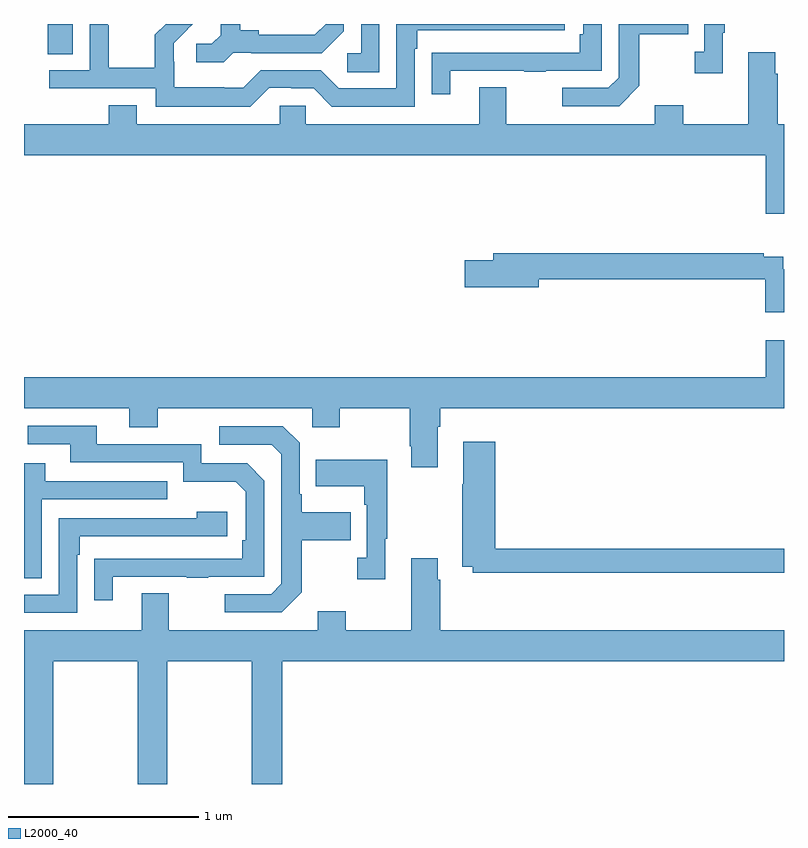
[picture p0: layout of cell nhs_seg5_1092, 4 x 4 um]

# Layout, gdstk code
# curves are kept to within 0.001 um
import gdstk
lib = gdstk.Library(unit=1e-6, precision=1e-09)
def R(c, l, rs):  # rectangles x0, y0, x1, y1
    for r in rs: c.add(gdstk.rectangle(r[:2], r[2:], *l))
def P(c, l, *ps):  # polygons
    for p in ps: c.add(gdstk.Polygon(p, *l))
L2000_40 = (2000, 40)

nhs_seg5_1092 = lib.new_cell('nhs_seg5_1092')
R(nhs_seg5_1092, L2000_40, [(179.126,842.641,179.257,842.799)])
P(nhs_seg5_1092, L2000_40, [(180.102,842.649),(180.196,842.649),(180.196,842.646),(180.568,842.646),(180.684,842.762),(180.684,842.799),(180.587,842.799),(180.53,842.742),(180.235,842.742),(180.235,842.765),(180.139,842.765),(180.139,842.799),(180.035,842.799),(180.035,842.741),(179.988,842.694),(179.907,842.694),(179.907,842.597),(180.05,842.597)],
  [(180.291,842.463),(180.407,842.463),(180.407,842.46),(180.525,842.46),(180.621,842.364),(181.056,842.364),(181.056,842.669),(181.069,842.669),(181.069,842.766),(181.846,842.766),(181.846,842.799),(180.96,842.799),(180.96,842.46),(180.657,842.46),(180.561,842.556),(180.246,842.556),(180.153,842.463),(180.053,842.463),(180.053,842.467),(179.79,842.467),(179.79,842.601),(179.788,842.601),(179.788,842.698),(179.862,842.772),(179.861,842.773),(179.887,842.799),(179.745,842.799),(179.689,842.743),(179.689,842.569),(179.445,842.569),(179.445,842.792),(179.442,842.792),(179.442,842.799),(179.346,842.799),(179.346,842.556),(179.133,842.556),(179.133,842.46),(179.694,842.46),(179.694,842.363),(180.191,842.363)],
  [(182.677,842.753),(182.689,842.753),(182.689,842.799),(182.58,842.799),(182.58,842.654),(182.529,842.654),(182.529,842.541),(182.677,842.541)],
  [(181.243,842.553),(181.633,842.553),(181.633,842.548),(181.745,842.548),(181.745,842.553),(182.04,842.553),(182.04,842.799),(181.944,842.799),(181.944,842.746),(181.924,842.746),(181.924,842.649),(181.249,842.649),(181.249,842.648),(181.147,842.648),(181.147,842.43),(181.243,842.43)],
  [(180.87,842.799),(180.774,842.799),(180.774,842.646),(180.702,842.646),(180.702,842.545),(180.87,842.545)],
  [(182.239,842.473),(182.239,842.746),(182.495,842.746),(182.495,842.799),(182.13,842.799),(182.13,842.517),(182.076,842.463),(181.833,842.463),(181.833,842.367),(182.133,842.367)],
  [(183,842.272),(182.966,842.272),(182.966,842.537),(182.953,842.537),(182.953,842.65),(182.813,842.65),(182.813,842.272),(182.469,842.272),(182.469,842.371),(182.321,842.371),(182.321,842.272),(181.537,842.272),(181.537,842.467),(181.397,842.467),(181.397,842.272),(180.483,842.272),(180.483,842.37),(180.345,842.37),(180.345,842.272),(179.593,842.272),(179.593,842.371),(179.446,842.371),(179.446,842.272),(179,842.272),(179,842.108),(182.903,842.108),(182.903,841.8),(183,841.8)],
  [(183,841.507),(182.997,841.507),(182.997,841.575),(182.894,841.575),(182.894,841.592),(181.469,841.592),(181.469,841.556),(181.32,841.556),(181.32,841.414),(181.708,841.414),(181.708,841.456),(182.901,841.456),(182.901,841.283),(183,841.283)],
  [(181.177,840.68),(181.19,840.68),(181.19,840.776),(183,840.776),(183,841.135),(182.903,841.135),(182.903,840.94),(179,840.94),(179,840.776),(179.555,840.776),(179.555,840.677),(179.703,840.677),(179.703,840.776),(180.516,840.776),(180.516,840.677),(180.663,840.677),(180.663,840.776),(181.03,840.776),(181.03,840.577),(181.037,840.577),(181.037,840.465),(181.177,840.465)],
  [(179.467,839.889),(179.857,839.889),(179.857,839.884),(179.969,839.884),(179.969,839.889),(180.264,839.889),(180.264,840.396),(180.174,840.486),(179.934,840.486),(179.934,840.588),(179.383,840.588),(179.383,840.684),(179.019,840.684),(179.019,840.588),(179.243,840.588),(179.243,840.492),(179.838,840.492),(179.838,840.389),(180.115,840.389),(180.168,840.336),(180.168,840.082),(180.148,840.082),(180.148,839.985),(179.371,839.984),(179.371,839.766),(179.467,839.766)],
  [(180.463,839.809),(180.463,840.082),(180.719,840.082),(180.719,840.229),(180.463,840.229),(180.463,840.325),(180.45,840.325),(180.45,840.594),(180.363,840.681),(180.027,840.681),(180.027,840.585),(180.303,840.585),(180.354,840.534),(180.354,839.853),(180.3,839.799),(180.057,839.799),(180.057,839.703),(180.357,839.703)],
  [(183,840.038),(181.481,840.038),(181.481,840.601),(181.313,840.601),(181.313,840.377),(181.306,840.377),(181.306,839.942),(181.362,839.942),(181.362,839.91),(183,839.91)],
  [(180.901,840.089),(180.913,840.089),(180.913,840.505),(180.535,840.505),(180.535,840.365),(180.792,840.365),(180.792,840.269),(180.804,840.269),(180.804,839.99),(180.753,839.99),(180.753,839.877),(180.901,839.877)],
  [(179.094,840.297),(179.753,840.297),(179.753,840.393),(179.113,840.393),(179.113,840.487),(179,840.487),(179,839.881),(179.094,839.881)],
  [(179.28,840.005),(179.293,840.005),(179.293,840.102),(180.07,840.102),(180.07,840.232),(179.909,840.232),(179.909,840.198),(179.184,840.198),(179.184,839.796),(179,839.796),(179,839.7),(179.28,839.7)],
  [(179.154,839.444),(179.599,839.444),(179.599,838.799),(179.754,838.799),(179.754,839.444),(180.199,839.444),(180.199,838.799),(180.359,838.799),(180.359,839.444),(183,839.444),(183,839.608),(181.19,839.608),(181.19,839.873),(181.177,839.873),(181.177,839.986),(181.037,839.986),(181.037,839.608),(180.693,839.608),(180.693,839.707),(180.545,839.707),(180.545,839.608),(179.761,839.608),(179.761,839.803),(179.621,839.803),(179.621,839.608),(179,839.608),(179,838.799),(179.154,838.799)])

lib.write_gds('nhs_seg5_1092.gds')
